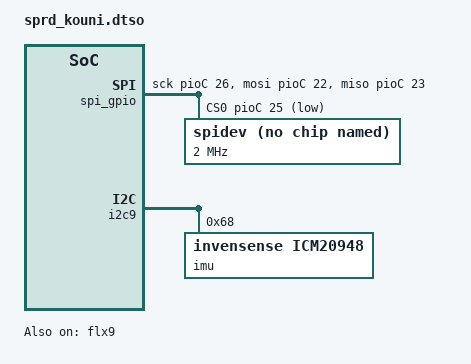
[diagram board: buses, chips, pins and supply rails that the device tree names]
// SPDX-License-Identifier: (GPL-2.0+ OR MIT)
/*
 * Overlay description for Nucare SPRD kouni
 */
/dts-v1/;
/plugin/;

#include <dt-bindings/gpio/gpio.h>
#include <dt-bindings/mfd/atmel-flexcom.h>
#include <dt-bindings/pinctrl/at91.h>

&{/} {
	spi_gpio: spi-gpio {
		compatible = "spi-gpio";
		pinctrl-names = "default";
		pinctrl-0 = <&pinctrl_flx3_gpio>;
		status = "okay";
		sck-gpios = <&pioC 26 GPIO_ACTIVE_HIGH>;
		mosi-gpios = <&pioC 22 GPIO_ACTIVE_HIGH>;
		miso-gpios = <&pioC 23 GPIO_ACTIVE_HIGH>;
		cs-gpios = <&pioC 25 GPIO_ACTIVE_LOW>;
		num-chipselects = <1>;
		#address-cells = <1>;
		#size-cells = <0>;

		spidev@0 {
			compatible = "linux,spidev";
			reg = <0>;
			spi-max-frequency = <2000000>;
		};
	};
};

&pinctrl {
	flexcom {
		pinctrl_flx3_gpio: flx3_gpio {
			atmel,pins =
				<AT91_PIOC 22 AT91_PERIPH_GPIO AT91_PINCTRL_NONE
				 AT91_PIOC 23 AT91_PERIPH_GPIO AT91_PINCTRL_NONE
				 AT91_PIOC 26 AT91_PERIPH_GPIO AT91_PINCTRL_NONE
				 AT91_PIOC 25 AT91_PERIPH_GPIO AT91_PINCTRL_NONE>;
		};

		pinctrl_flx3_spi: flx3_spi {
			atmel,pins =
				<AT91_PIOC 22 AT91_PERIPH_B AT91_PINCTRL_NONE
				 AT91_PIOC 23 AT91_PERIPH_B AT91_PINCTRL_PULL_UP
				 AT91_PIOC 26 AT91_PERIPH_B AT91_PINCTRL_NONE
				 AT91_PIOC 25 AT91_PERIPH_B AT91_PINCTRL_PULL_UP>;
		};

		pinctrl_flx9_twi: flx9_twi {
			atmel,pins =
				<AT91_PIOC 8 AT91_PERIPH_C AT91_PINCTRL_PULL_UP
				 AT91_PIOC 9 AT91_PERIPH_C AT91_PINCTRL_PULL_UP>;
		};
	};
};

&flx9 {
	atmel,flexcom-mode = <ATMEL_FLEXCOM_MODE_TWI>;
	status = "okay";

	i2c9: i2c@600 {
		#address-cells = <1>;
		#size-cells = <0>;
		dmas = <0>, <0>;
		pinctrl-names = "default";
		pinctrl-0 = <&pinctrl_flx9_twi>;
		status = "okay";
		
		gyro@1e {
			compatible = "honeywell,hmc5883l";
			reg = <0x1e>;
			status = "disabled";
		};
		
		imu@68 {
			compatible = "invensense,icm20948";
			reg = <0x68>;
			status = "okay";
		};
	};
};

&uart9 {
	status = "disabled";
};

&flx3 {
	atmel,flexcom-mode = <ATMEL_FLEXCOM_MODE_SPI>;
	status = "disabled";

	spi3: spi@400 {
		#address-cells = <1>;
		#size-cells = <0>;
		pinctrl-names = "default";
		pinctrl-0 = <&pinctrl_flx3_spi>;
		status = "disabled";

		spidev@0 {
			compatible = "linux,spidev";
			reg = <0>;
			spi-max-frequency = <2000000>;
			spi-cpha;
		};
	};
};
